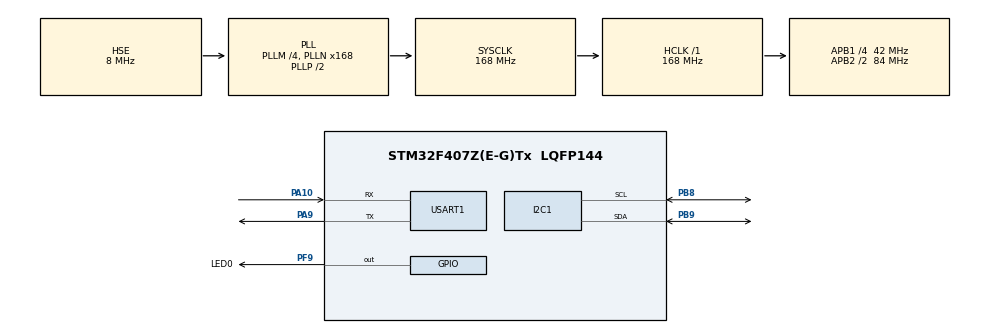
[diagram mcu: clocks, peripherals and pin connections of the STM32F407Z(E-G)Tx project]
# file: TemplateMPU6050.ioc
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Mcu.Family=STM32F4
RCC.PLLSourceVirtual=RCC_PLLSOURCE_HSE
TIM10.Prescaler=8400-1
PC15-OSC32_OUT.Mode=LSE-External-Oscillator
PH0-OSC_IN.Signal=RCC_OSC_IN
RCC.CortexFreq_Value=168000000
PA10.Mode=Asynchronous
PA10.GPIO_PuPd=GPIO_PULLUP
PF9.GPIO_Speed=GPIO_SPEED_FREQ_HIGH
RCC.APB1CLKDivider=RCC_HCLK_DIV4
PC14-OSC32_IN.Signal=RCC_OSC32_IN
PA9.GPIO_PuPd=GPIO_PULLUP
TIM13.AutoReloadPreload=TIM_AUTORELOAD_PRELOAD_ENABLE
RCC.SYSCLKSource=RCC_SYSCLKSOURCE_PLLCLK
ProjectManager.StackSize=0x400
PA9.Mode=Asynchronous
ProjectManager.TargetToolchain=STM32CubeIDE
PF9.PinState=GPIO_PIN_SET
RCC.HCLKFreq_Value=168000000
PB9.Mode=I2C
RCC.APB2TimFreq_Value=168000000
PA9.Signal=USART1_TX
VP_TIM10_VS_ClockSourceINT.Mode=Enable_Timer
PF9.GPIO_Label=LED0
PC15-OSC32_OUT.Signal=RCC_OSC32_OUT
RCC.AHBFreq_Value=168000000
PH0-OSC_IN.Mode=HSE-External-Oscillator
TIM10.AutoReloadPreload=TIM_AUTORELOAD_PRELOAD_ENABLE
RCC.HSE_VALUE=8000000
board=custom
RCC.VCOOutputFreq_Value=336000000
TIM13.Period=5*5000-1
TIM10.Period=5000-1
VP_TIM13_VS_ClockSourceINT.Mode=Enable_Timer
RCC.APB2Freq_Value=84000000
PC14-OSC32_IN.Mode=LSE-External-Oscillator
TIM13.Prescaler=4*8400-1
PH1-OSC_OUT.Signal=RCC_OSC_OUT
Mcu.Name=STM32F407Z(E-G)Tx
PH1-OSC_OUT.Mode=HSE-External-Oscillator
RCC.48MHZClocksFreq_Value=84000000
RCC.SYSCLKFreq_VALUE=168000000
Mcu.Package=LQFP144
PB9.Signal=I2C1_SDA
USART1.VirtualMode=VM_ASYNC
PA10.Signal=USART1_RX
ProjectManager.HeapSize=0x200
NVIC.TIM1_UP_TIM10_IRQn=true\:2\:1\:true\:true\:true\:1\:true\:true
PF9.Signal=GPIO_Output
RCC.HSI_VALUE=16000000
NVIC.TIM8_UP_TIM13_IRQn=true\:3\:1\:true\:true\:true\:2\:true\:true
PF9.GPIO_ModeDefaultOutputPP=GPIO_MODE_OUTPUT_PP
NVIC.PriorityGroup=NVIC_PRIORITYGROUP_2
RCC.APB2CLKDivider=RCC_HCLK_DIV2
RCC.PLLM=4
PB8.Mode=I2C
RCC.PLLN=168
RCC.APB1TimFreq_Value=84000000
PB8.Signal=I2C1_SCL
PF9.GPIO_PuPd=GPIO_PULLUP
RCC.APB1Freq_Value=42000000

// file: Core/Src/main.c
/* USER CODE BEGIN Header */
/**
  ******************************************************************************
  * @file           : main.c
  * @brief          : Main program body
  ******************************************************************************
  * @attention
  *
  * <h2><center>&copy; Copyright (c) 2021 STMicroelectronics.
  * All rights reserved.</center></h2>
  *
  * This software component is licensed by ST under BSD 3-Clause license,
  * the "License"; You may not use this file except in compliance with the
  * License. You may obtain a copy of the License at:
  *                        opensource.org/licenses/BSD-3-Clause
  *
  ******************************************************************************
  */
/* USER CODE END Header */
#include "main.h"

/* USER CODE BEGIN PD */
#ifdef __GNUC__
#define PUTCHAR_PROTOTYPE int __io_putchar(int ch)
#else
#define PUTCHAR_PROTOTYPE int fputc(int ch, FILE *f)
#endif
/* USER CODE END PD */

I2C_HandleTypeDef hi2c1;

TIM_HandleTypeDef htim10;
TIM_HandleTypeDef htim13;

UART_HandleTypeDef huart1;

void SystemClock_Config(void);
static void MX_GPIO_Init(void);
//void MX_I2C1_Init(void);
static void MX_I2C1_Init(void);
static void MX_TIM10_Init(void);
static void MX_USART1_UART_Init(void);
static void MX_TIM13_Init(void);
static void MX_NVIC_Init(void);

/* USER CODE BEGIN 0 */
static void MPU6050_Init(void);
void HAL_TIM_PeriodElapsedCallback(TIM_HandleTypeDef *htim);

short acceleStock[100][3];		//设置为全局变量，因为要在TIM4中断中传输其数据
short gyroStock[100][3];		//设置为全局变量，因为要在TIM4中断中传输其数据
float eulerStock[100][3];		//设置为全局变量，因为要在TIM4中断中传输其数据
short temperStock1[100];		//设置为全局变量，因为要在TIM4中断中传输其数据。存储还未处理过的数值
float temperStock2[100];		//设置为全局变量，因为要在TIM4中断中传输其数据。存储摄氏度
uint16_t currentCulcu;		//设置为全局变量，因为要在TIM4中断中传输其数据。记录当前100个数据中，有多少个数据被覆盖（前currentCulcu个数据）

/* USER CODE END 0 */

int main(void)
{

  /* MCU Configuration--------------------------------------------------------*/

  /* Reset of all peripherals, Initializes the Flash interface and the Systick. */
  HAL_Init();

  /* Configure the system clock */
  SystemClock_Config();

  /* Initialize all configured peripherals */
  MX_GPIO_Init();
  MX_I2C1_Init();
  MX_TIM10_Init();
  MX_USART1_UART_Init();
  MX_TIM13_Init();

  /* Initialize interrupts */
  MX_NVIC_Init();
  /* USER CODE BEGIN 2 */
  MPU6050_Init();
  mpu_dmp_init();
  HAL_TIM_IC_Start_IT(&htim10, TIM_CHANNEL_1);
  HAL_TIM_IC_Start_IT(&htim13, TIM_CHANNEL_1);
  /* USER CODE END 2 */

  /* Infinite loop */
  while (1)
  {
	  for(currentCulcu=0; currentCulcu<100; currentCulcu++){
		  MPU_GetAcceler(&acceleStock[currentCulcu][0], &acceleStock[currentCulcu][1], &acceleStock[currentCulcu][2]);
		  MPU_GetGyro(&gyroStock[currentCulcu][0], &gyroStock[currentCulcu][1], &gyroStock[currentCulcu][2]);
		  mpu_dmp_get_data(&eulerStock[currentCulcu][0], &eulerStock[currentCulcu][1], &eulerStock[currentCulcu][2]);
		  MPU_GetTemper(&temperStock1[currentCulcu], &temperStock2[currentCulcu]);
	  }
  }
}

void SystemClock_Config(void)
{
  RCC_OscInitTypeDef RCC_OscInitStruct = {0};
  RCC_ClkInitTypeDef RCC_ClkInitStruct = {0};

  /** Configure the main internal regulator output voltage
  */
  __HAL_RCC_PWR_CLK_ENABLE();
  __HAL_PWR_VOLTAGESCALING_CONFIG(PWR_REGULATOR_VOLTAGE_SCALE1);
  /** Initializes the RCC Oscillators according to the specified parameters
  * in the RCC_OscInitTypeDef structure.
  */
  RCC_OscInitStruct.OscillatorType = RCC_OSCILLATORTYPE_HSE;
  RCC_OscInitStruct.HSEState = RCC_HSE_ON;
  RCC_OscInitStruct.PLL.PLLState = RCC_PLL_ON;
  RCC_OscInitStruct.PLL.PLLSource = RCC_PLLSOURCE_HSE;
  RCC_OscInitStruct.PLL.PLLM = 4;
  RCC_OscInitStruct.PLL.PLLN = 168;
  RCC_OscInitStruct.PLL.PLLP = RCC_PLLP_DIV2;
  RCC_OscInitStruct.PLL.PLLQ = 4;
  if (HAL_RCC_OscConfig(&RCC_OscInitStruct) != HAL_OK)
  {
    Error_Handler();
  }
  /** Initializes the CPU, AHB and APB buses clocks
  */
  RCC_ClkInitStruct.ClockType = RCC_CLOCKTYPE_HCLK|RCC_CLOCKTYPE_SYSCLK
                              |RCC_CLOCKTYPE_PCLK1|RCC_CLOCKTYPE_PCLK2;
  RCC_ClkInitStruct.SYSCLKSource = RCC_SYSCLKSOURCE_PLLCLK;
  RCC_ClkInitStruct.AHBCLKDivider = RCC_SYSCLK_DIV1;
  RCC_ClkInitStruct.APB1CLKDivider = RCC_HCLK_DIV4;
  RCC_ClkInitStruct.APB2CLKDivider = RCC_HCLK_DIV2;

  if (HAL_RCC_ClockConfig(&RCC_ClkInitStruct, FLASH_LATENCY_5) != HAL_OK)
  {
    Error_Handler();
  }
}

/**
  * @brief NVIC Configuration.
  * @retval None
  */
static void MX_NVIC_Init(void)
{
  /* TIM1_UP_TIM10_IRQn interrupt configuration */
  HAL_NVIC_SetPriority(TIM1_UP_TIM10_IRQn, 2, 1);
  HAL_NVIC_EnableIRQ(TIM1_UP_TIM10_IRQn);
  /* TIM8_UP_TIM13_IRQn interrupt configuration */
  HAL_NVIC_SetPriority(TIM8_UP_TIM13_IRQn, 3, 1);
  HAL_NVIC_EnableIRQ(TIM8_UP_TIM13_IRQn);
}

//void MX_I2C1_Init(void)
static void MX_I2C1_Init(void)
{

  hi2c1.Instance = I2C1;
  hi2c1.Init.ClockSpeed = 100000;
  hi2c1.Init.DutyCycle = I2C_DUTYCYCLE_2;
  hi2c1.Init.OwnAddress1 = 0;
  hi2c1.Init.AddressingMode = I2C_ADDRESSINGMODE_7BIT;
  hi2c1.Init.DualAddressMode = I2C_DUALADDRESS_DISABLE;
  hi2c1.Init.OwnAddress2 = 0;
  hi2c1.Init.GeneralCallMode = I2C_GENERALCALL_DISABLE;
  hi2c1.Init.NoStretchMode = I2C_NOSTRETCH_DISABLE;
  if (HAL_I2C_Init(&hi2c1) != HAL_OK)
  {
    Error_Handler();
  }

}

static void MX_TIM10_Init(void)
{

  htim10.Instance = TIM10;
  htim10.Init.Prescaler = 8400-1;
  htim10.Init.CounterMode = TIM_COUNTERMODE_UP;
  htim10.Init.Period = 5000-1;
  htim10.Init.ClockDivision = TIM_CLOCKDIVISION_DIV1;
  htim10.Init.AutoReloadPreload = TIM_AUTORELOAD_PRELOAD_ENABLE;
  if (HAL_TIM_Base_Init(&htim10) != HAL_OK)
  {
    Error_Handler();
  }

}

static void MX_TIM13_Init(void)
{

  htim13.Instance = TIM13;
  htim13.Init.Prescaler = 4*8400-1;
  htim13.Init.CounterMode = TIM_COUNTERMODE_UP;
  htim13.Init.Period = 5*5000-1;
  htim13.Init.ClockDivision = TIM_CLOCKDIVISION_DIV1;
  htim13.Init.AutoReloadPreload = TIM_AUTORELOAD_PRELOAD_ENABLE;
  if (HAL_TIM_Base_Init(&htim13) != HAL_OK)
  {
    Error_Handler();
  }

}

static void MX_USART1_UART_Init(void)
{

  huart1.Instance = USART1;
  huart1.Init.BaudRate = 115200;
  huart1.Init.WordLength = UART_WORDLENGTH_8B;
  huart1.Init.StopBits = UART_STOPBITS_1;
  huart1.Init.Parity = UART_PARITY_NONE;
  huart1.Init.Mode = UART_MODE_TX_RX;
  huart1.Init.HwFlowCtl = UART_HWCONTROL_NONE;
  huart1.Init.OverSampling = UART_OVERSAMPLING_16;
  if (HAL_UART_Init(&huart1) != HAL_OK)
  {
    Error_Handler();
  }

}

static void MX_GPIO_Init(void)
{
  GPIO_InitTypeDef GPIO_InitStruct = {0};

  /* GPIO Ports Clock Enable */
  __HAL_RCC_GPIOC_CLK_ENABLE();
  __HAL_RCC_GPIOF_CLK_ENABLE();
  __HAL_RCC_GPIOH_CLK_ENABLE();
  __HAL_RCC_GPIOA_CLK_ENABLE();
  __HAL_RCC_GPIOB_CLK_ENABLE();

  /*Configure GPIO pin Output Level */
  HAL_GPIO_WritePin(LED0_GPIO_Port, LED0_Pin, GPIO_PIN_SET);

  /*Configure GPIO pin : LED0_Pin */
  GPIO_InitStruct.Pin = LED0_Pin;
  GPIO_InitStruct.Mode = GPIO_MODE_OUTPUT_PP;
  GPIO_InitStruct.Pull = GPIO_PULLUP;
  GPIO_InitStruct.Speed = GPIO_SPEED_FREQ_HIGH;
  HAL_GPIO_Init(LED0_GPIO_Port, &GPIO_InitStruct);

}

/* USER CODE BEGIN 4 */

/**
  * @brief MPU6050 Initialization Function
  * @param None
  * @retval None
  */
static void MPU6050_Init(void){
	uint8_t data;

	//1初始化I2C
	MX_I2C1_Init();

	//2复位MPU6050：一、将电源管理寄存器1的bit7写1（从第0位开始数起） 二、对电源管理寄存器1写0x00以唤醒MPU6050
	while(HAL_I2C_IsDeviceReady(&hi2c1, (MPU_Device_Addr<<1) | 1, 5, 0xffff) != HAL_OK);
	data = 0x80;
	while(HAL_I2C_Mem_Write(&hi2c1, (MPU_Device_Addr<<1) | 0, MPU_PowerManageReg1_Addr, I2C_MEMADD_SIZE_8BIT, &data, 1, 0xffff) != HAL_OK);
	HAL_Delay(100);		//不知道为什么要延迟0.1s，应该没什么意义。。。。。
	while(HAL_I2C_IsDeviceReady(&hi2c1, (MPU_Device_Addr<<1) | 1, 5, 0xffff) != HAL_OK);
	data = 0x00;
	while(HAL_I2C_Mem_Write(&hi2c1, (MPU_Device_Addr<<1) | 0, MPU_PowerManageReg1_Addr, I2C_MEMADD_SIZE_8BIT, &data, 1, 0xffff) != HAL_OK);

	//3设置陀螺仪配置寄存器、加速度配置寄存器的最大计数范围
	while(HAL_I2C_IsDeviceReady(&hi2c1, (MPU_Device_Addr<<1) | 1, 5, 0xffff) != HAL_OK);
	data = (0x03 << 3);		//为什么要左移三位？具体参见“STM32F407ZG中文开发手册库函数版本”中MPU6050的实验
	while(HAL_I2C_Mem_Write(&hi2c1, (MPU_Device_Addr<<1) | 0, MPU_GyroConfigReg_Addr, I2C_MEMADD_SIZE_8BIT, &data, 1, 0xffff) != HAL_OK);
	while(HAL_I2C_IsDeviceReady(&hi2c1, (MPU_Device_Addr<<1) | 1, 5, 0xffff) != HAL_OK);
	data = (0x00 << 3);		//为什么要左移三位？具体参见“STM32F407ZG中文开发手册库函数版本”中MPU6050的实验
	while(HAL_I2C_Mem_Write(&hi2c1, (MPU_Device_Addr<<1) | 0, MPU_AcceConfigReg_Addr, I2C_MEMADD_SIZE_8BIT, &data, 1, 0xffff) != HAL_OK);

	//4关闭MPU的中断、AUX_I2C、FIFO
	while(HAL_I2C_IsDeviceReady(&hi2c1, (MPU_Device_Addr<<1) | 1, 5, 0xffff) != HAL_OK);
	data = 0x00;
	while(HAL_I2C_Mem_Write(&hi2c1, (MPU_Device_Addr<<1) | 0, MPU_InterruEnableReg_Addr, I2C_MEMADD_SIZE_8BIT, &data, 1, 0xffff) != HAL_OK);
	while(HAL_I2C_IsDeviceReady(&hi2c1, (MPU_Device_Addr<<1) | 1, 5, 0xffff) != HAL_OK);
	while(HAL_I2C_Mem_Write(&hi2c1, (MPU_Device_Addr<<1) | 0, MPU_UserControlReg_Addr, I2C_MEMADD_SIZE_8BIT, &data, 1, 0xffff) != HAL_OK);
	while(HAL_I2C_IsDeviceReady(&hi2c1, (MPU_Device_Addr<<1) | 1, 5, 0xffff) != HAL_OK);
	while(HAL_I2C_Mem_Write(&hi2c1, (MPU_Device_Addr<<1) | 0, MPU_FIFOConfigReg_Addr, I2C_MEMADD_SIZE_8BIT, &data, 1, 0xffff) != HAL_OK);

	//5设定陀螺仪采样率
	while(HAL_I2C_IsDeviceReady(&hi2c1, (MPU_Device_Addr<<1) | 1, 5, 0xffff) != HAL_OK);
	data = MPU_GetSMPLART_DIV(1, 50);
	while(HAL_I2C_Mem_Write(&hi2c1, (MPU_Device_Addr<<1) | 0, MPU_GyroSampleRateReg_Addr, I2C_MEMADD_SIZE_8BIT, &data, 1, 0xffff) != HAL_OK);

	//6设定DLPF的带宽
	while(HAL_I2C_IsDeviceReady(&hi2c1, (MPU_Device_Addr<<1) | 1, 5, 0xffff) != HAL_OK);
	data = 0x04;		//这一步做的不是很完美，之后自己可以试着写一个根据陀螺仪输出频率、陀螺仪采样率得到DLPF进而得到CFG_DLPF的函数。。。。。
	while(HAL_I2C_Mem_Write(&hi2c1, (MPU_Device_Addr<<1) | 0, MPU_DLPFConfigReg_Addr, I2C_MEMADD_SIZE_8BIT, &data, 1, 0xffff) != HAL_OK);

	//7设定时钟，使能陀螺仪、加速度寄存器
	while(HAL_I2C_IsDeviceReady(&hi2c1, (MPU_Device_Addr<<1) | 1, 5, 0xffff) != HAL_OK);
	while(HAL_I2C_Mem_Read(&hi2c1, (MPU_Device_Addr<<1) | 1, MPU_DeviceIDReg_Addr, I2C_MEMADD_SIZE_8BIT, &data, 1, 0xffff) != HAL_OK);
	if(data == MPU_Device_Addr){
		while(HAL_I2C_IsDeviceReady(&hi2c1, (MPU_Device_Addr<<1) | 1, 5, 0xffff) != HAL_OK);
		data = 0x01;
		while(HAL_I2C_Mem_Write(&hi2c1, (MPU_Device_Addr<<1) | 0, MPU_PowerManageReg1_Addr, I2C_MEMADD_SIZE_8BIT, &data, 1, 0xffff) != HAL_OK);
		while(HAL_I2C_IsDeviceReady(&hi2c1, (MPU_Device_Addr<<1) | 1, 5, 0xffff) != HAL_OK);
		data = 0x00;
		while(HAL_I2C_Mem_Write(&hi2c1, (MPU_Device_Addr<<1) | 0, MPU_PowerManageReg2_Addr, I2C_MEMADD_SIZE_8BIT, &data, 1, 0xffff) != HAL_OK);
	}
}

//定时器中断回调函数
void HAL_TIM_PeriodElapsedCallback(TIM_HandleTypeDef *htim){
	uint16_t i;
	if(htim == &htim10)
		HAL_GPIO_TogglePin(GPIOF, GPIO_PIN_9);
	else if(htim == &htim13){
		printf("Data got from MPU6050: \r\n");
		for(i=0; i<100; i++){
			printf("第%d个数据：Accele(x,y,z) = (%hd, %hd, %hd)\r\n", i, acceleStock[i][0], acceleStock[i][1], acceleStock[i][2]);
		}
		for(i=0; i<100; i++){
			printf("第%d个数据：gyro(x,y,z) = (%hd, %hd, %hd)\r\n", i, gyroStock[i][0], gyroStock[i][1], gyroStock[i][2]);
		}
		for(i=0; i<100; i++){
			printf("第%d个数据：euler(pitch,roll,yaw) = (%f, %f, %f)\r\n", i, eulerStock[i][0], eulerStock[i][1], eulerStock[i][2]);
		}
		for(i=0; i<100; i++){
			printf("第%d个数据：temperature = %f\r\n", i, temperStock2[i]);
		}
		printf("当前覆盖了前%d个数据\r\n", currentCulcu);
		printf("***************************************************************\r\n\r\n");
	}
}

//printf函数重定向
PUTCHAR_PROTOTYPE
{
	HAL_UART_Transmit(&huart1, (uint8_t*)&ch,1,HAL_MAX_DELAY);
    return ch;
}

/* USER CODE END 4 */

void Error_Handler(void)
{
  __disable_irq();
  while (1)
  {
  }
}

/************************ (C) COPYRIGHT STMicroelectronics *****END OF FILE****/
